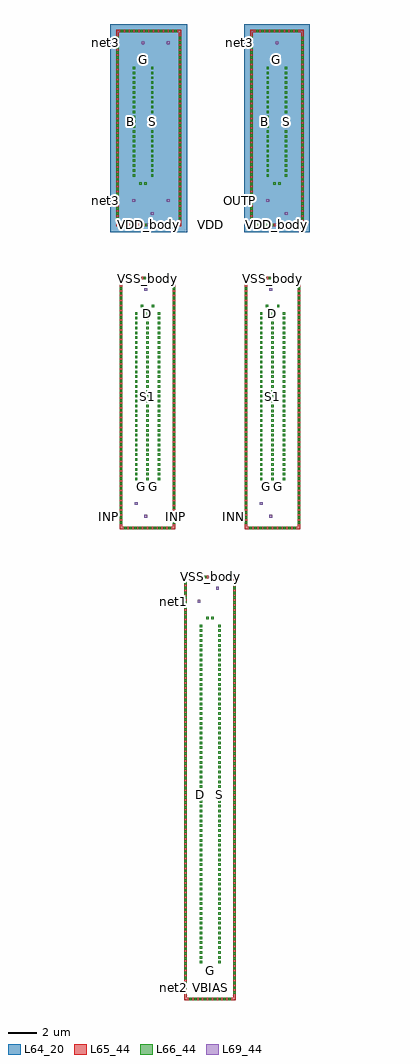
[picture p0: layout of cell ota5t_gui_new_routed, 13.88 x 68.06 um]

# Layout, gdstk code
import gdstk
lib = gdstk.Library(unit=1e-6, precision=1e-09)
def R(c, l, rs):  # rectangles x0, y0, x1, y1
    for r in rs: c.add(gdstk.rectangle(r[:2], r[2:], *l))
def A(c, l, x, y, w, h, nx, ny, dx, dy):  # array of equal rectangles
    R(c, l, [(x+i*dx, y+j*dy, x+i*dx+w, y+j*dy+h) for i in range(nx) for j in range(ny)])
L64_20 = (64, 20)
L65_44 = (65, 44)
L66_44 = (66, 44)
L69_44 = (69, 44)

d_sky130_fd_pr__nfet_01v = lib.new_cell('D$sky130_fd_pr__nfet_01v8')

c_d_sky130_fd_pr__nfet_01v = lib.new_cell('D$sky130_fd_pr__nfet_01v8$2')

c_d_sky130_fd_pr__nfet_01v_ = lib.new_cell('D$sky130_fd_pr__nfet_01v8$1')

d_sky130_fd_pr__pfet_01v = lib.new_cell('D$sky130_fd_pr__pfet_01v8')
R(d_sky130_fd_pr__pfet_01v, L64_20, [(-0.5,-4,0.5,4)])

ota5t_gui_new_routed = lib.new_cell('ota5t_gui_new_routed')
R(ota5t_gui_new_routed, L64_20, [(-6.94,-14.51,-1.6,0), (2.4,-14.51,6.94,0), (-5.64,-11.31,-3.7,-2.31), (3.7,-11.31,5.64,-2.31), (-5.59,-6.86,-5.49,-6.76), (3.75,-6.86,3.85,-6.76)])
R(ota5t_gui_new_routed, L65_44, [(-1.8,-68.06,1.8,-67.89), (-1.8,-67.89,-1.63,-38.64), (1.63,-67.89,1.8,-38.64), (-1.8,-38.64,1.8,-38.47), (-6.305,-35.22,-2.415,-35.05), (2.415,-35.22,6.305,-35.05), (-6.305,-35.05,-6.135,-17.8), (-2.585,-35.05,-2.415,-17.8), (2.415,-35.05,2.585,-17.8), (6.135,-35.05,6.305,-17.8), (-6.305,-17.8,-2.415,-17.63), (2.415,-17.8,6.305,-17.63), (-6.525,-14.095,-2.015,-13.925), (2.815,-14.095,6.525,-13.925), (-6.525,-13.925,-6.355,-0.585), (-2.185,-13.925,-2.015,-0.585), (2.815,-13.925,2.985,-0.585), (6.355,-13.925,6.525,-0.585), (-6.525,-0.585,-2.015,-0.415), (2.815,-0.585,6.525,-0.415)])
A(ota5t_gui_new_routed, L66_44, -1.445, -68.06, 0.17, 0.17, 9, 2, 0.34, 29.42)
A(ota5t_gui_new_routed, L66_44, -1.8, -67.63, 0.17, 0.17, 1, 85, 0, 0.34)
A(ota5t_gui_new_routed, L66_44, 1.63, -67.63, 0.17, 0.17, 1, 85, 0, 0.34)
A(ota5t_gui_new_routed, L66_44, -0.725, -65.51, 0.17, 0.17, 1, 70, 0, 0.34)
A(ota5t_gui_new_routed, L66_44, 0.565, -65.51, 0.17, 0.17, 1, 70, 0, 0.34)
A(ota5t_gui_new_routed, L66_44, -5.975, -35.22, 0.17, 0.17, 10, 2, 0.34, 17.42)
A(ota5t_gui_new_routed, L66_44, 2.745, -35.22, 0.17, 0.17, 10, 2, 0.34, 17.42)
A(ota5t_gui_new_routed, L66_44, -6.305, -34.84, 0.17, 0.17, 1, 50, 0, 0.34)
A(ota5t_gui_new_routed, L66_44, -2.585, -34.84, 0.17, 0.17, 1, 50, 0, 0.34)
A(ota5t_gui_new_routed, L66_44, 2.415, -34.84, 0.17, 0.17, 1, 50, 0, 0.34)
A(ota5t_gui_new_routed, L66_44, 6.135, -34.84, 0.17, 0.17, 1, 50, 0, 0.34)
A(ota5t_gui_new_routed, L66_44, -5.23, -31.82, 0.17, 0.17, 3, 35, 0.79, 0.34)
A(ota5t_gui_new_routed, L66_44, 3.49, -31.82, 0.17, 0.17, 3, 35, 0.79, 0.34)
A(ota5t_gui_new_routed, L66_44, -6.225, -14.095, 0.17, 0.17, 12, 2, 0.34, 13.51)
A(ota5t_gui_new_routed, L66_44, 3.225, -14.095, 0.17, 0.17, 9, 2, 0.34, 13.51)
A(ota5t_gui_new_routed, L66_44, -6.525, -13.63, 0.17, 0.17, 1, 38, 0, 0.34)
A(ota5t_gui_new_routed, L66_44, -2.185, -13.63, 0.17, 0.17, 1, 38, 0, 0.34)
A(ota5t_gui_new_routed, L66_44, 2.815, -13.63, 0.17, 0.17, 1, 38, 0, 0.34)
A(ota5t_gui_new_routed, L66_44, 6.355, -13.63, 0.17, 0.17, 1, 38, 0, 0.34)
A(ota5t_gui_new_routed, L66_44, -5.4, -10.635, 0.17, 0.17, 1, 23, 0, 0.34)
A(ota5t_gui_new_routed, L66_44, -4.11, -10.635, 0.17, 0.17, 1, 23, 0, 0.34)
A(ota5t_gui_new_routed, L66_44, 3.94, -10.635, 0.17, 0.17, 1, 23, 0, 0.34)
A(ota5t_gui_new_routed, L66_44, 5.23, -10.635, 0.17, 0.17, 1, 23, 0, 0.34)
R(ota5t_gui_new_routed, L66_44, [(-0.25,-66.055,-0.08,-65.885), (0.09,-66.055,0.26,-65.885), (-0.25,-41.505,-0.08,-41.335), (0.09,-41.505,0.26,-41.335), (-4.835,-32.315,-4.665,-32.145), (-4.045,-32.315,-3.875,-32.145), (3.885,-32.315,4.055,-32.145), (4.675,-32.315,4.845,-32.145), (-4.835,-19.765,-4.665,-19.595), (-4.045,-19.765,-3.875,-19.595), (3.885,-19.765,4.055,-19.595), (4.675,-19.765,4.845,-19.595), (-4.925,-11.215,-4.755,-11.045), (-4.585,-11.215,-4.415,-11.045), (4.415,-11.215,4.585,-11.045), (4.755,-11.215,4.925,-11.045), (-4.925,-2.575,-4.755,-2.405), (-4.585,-2.575,-4.415,-2.405), (4.415,-2.575,4.585,-2.405), (4.755,-2.575,4.925,-2.405)])
R(ota5t_gui_new_routed, L69_44, [(-0.225,-67.275,-0.025,-67.075), (-0.87,-40.355,-0.67,-40.155), (0.42,-39.455,0.62,-39.255), (-0.1,-38.66,0.1,-38.46), (-4.585,-34.435,-4.385,-34.235), (4.135,-34.435,4.335,-34.235), (-5.25,-33.535,-5.05,-33.335), (3.47,-33.535,3.67,-33.335), (-4.585,-18.615,-4.385,-18.415), (4.135,-18.615,4.335,-18.415), (-4.46,-17.82,-4.26,-17.62), (4.26,-17.82,4.46,-17.62), (-4.37,-14.11,-4.17,-13.91), (4.57,-14.11,4.77,-13.91), (-4.125,-13.31,-3.925,-13.11), (5.215,-13.31,5.415,-13.11), (-5.415,-12.41,-5.215,-12.21), (-3,-12.41,-2.8,-12.21), (3.925,-12.41,4.125,-12.21), (-4.77,-1.4,-4.57,-1.2), (-3,-1.4,-2.8,-1.2), (4.57,-1.4,4.77,-1.2)])
ota5t_gui_new_routed.add(gdstk.Reference(d_sky130_fd_pr__nfet_01v, (0.005,-53.695), x_reflection=True))
ota5t_gui_new_routed.add(gdstk.Reference(c_d_sky130_fd_pr__nfet_01v, (-3.96,-25.955), x_reflection=True))
ota5t_gui_new_routed.add(gdstk.Reference(c_d_sky130_fd_pr__nfet_01v, (4.76,-25.955), x_reflection=True))
ota5t_gui_new_routed.add(gdstk.Reference(c_d_sky130_fd_pr__nfet_01v_, (-4.75,-25.955), x_reflection=True))
ota5t_gui_new_routed.add(gdstk.Reference(c_d_sky130_fd_pr__nfet_01v_, (3.97,-25.955), x_reflection=True))
ota5t_gui_new_routed.add(gdstk.Reference(d_sky130_fd_pr__pfet_01v, (-4.67,-6.81)))
ota5t_gui_new_routed.add(gdstk.Reference(d_sky130_fd_pr__pfet_01v, (4.67,-6.81)))
ota5t_gui_new_routed.add(gdstk.Label('B', (-5.54,-6.81), layer=64, texttype=5))
ota5t_gui_new_routed.add(gdstk.Label('B', (3.8,-6.81), layer=64, texttype=5))
ota5t_gui_new_routed.add(gdstk.Label('VDD_body', (-4.27,-14.01), layer=67, texttype=5))
ota5t_gui_new_routed.add(gdstk.Label('VDD_body', (4.67,-14.01), layer=67, texttype=5))
ota5t_gui_new_routed.add(gdstk.Label('S1', (-4.355,-25.955), layer=67, texttype=5))
ota5t_gui_new_routed.add(gdstk.Label('S1', (4.365,-25.955), layer=67, texttype=5))
ota5t_gui_new_routed.add(gdstk.Label('S', (0.65,-53.695), layer=67, texttype=5))
ota5t_gui_new_routed.add(gdstk.Label('S', (-4.025,-6.81), layer=67, texttype=5))
ota5t_gui_new_routed.add(gdstk.Label('S', (5.315,-6.81), layer=67, texttype=5))
ota5t_gui_new_routed.add(gdstk.Label('VSS_body', (0,-38.555), layer=67, texttype=5))
ota5t_gui_new_routed.add(gdstk.Label('VSS_body', (-4.36,-17.715), layer=67, texttype=5))
ota5t_gui_new_routed.add(gdstk.Label('VSS_body', (4.36,-17.715), layer=67, texttype=5))
ota5t_gui_new_routed.add(gdstk.Label('D0', (-5.145,-25.955), layer=67, texttype=5))
ota5t_gui_new_routed.add(gdstk.Label('D0', (3.575,-25.955), layer=67, texttype=5))
ota5t_gui_new_routed.add(gdstk.Label('D', (-0.64,-53.695), layer=67, texttype=5))
ota5t_gui_new_routed.add(gdstk.Label('D', (-5.315,-6.81), layer=67, texttype=5))
ota5t_gui_new_routed.add(gdstk.Label('D', (4.025,-6.81), layer=67, texttype=5))
ota5t_gui_new_routed.add(gdstk.Label('G', (0.005,-65.97), layer=67, texttype=5))
ota5t_gui_new_routed.add(gdstk.Label('G', (-4.75,-32.23), layer=67, texttype=5))
ota5t_gui_new_routed.add(gdstk.Label('G', (-3.96,-32.23), layer=67, texttype=5))
ota5t_gui_new_routed.add(gdstk.Label('G', (3.97,-32.23), layer=67, texttype=5))
ota5t_gui_new_routed.add(gdstk.Label('G', (4.76,-32.23), layer=67, texttype=5))
ota5t_gui_new_routed.add(gdstk.Label('G', (-4.67,-2.49), layer=67, texttype=5))
ota5t_gui_new_routed.add(gdstk.Label('G', (4.67,-2.49), layer=67, texttype=5))
ota5t_gui_new_routed.add(gdstk.Label('S', (0.65,-53.795), layer=68, texttype=5))
ota5t_gui_new_routed.add(gdstk.Label('S', (-4.025,-6.71), layer=68, texttype=5))
ota5t_gui_new_routed.add(gdstk.Label('S', (5.315,-6.71), layer=68, texttype=5))
ota5t_gui_new_routed.add(gdstk.Label('D', (-0.64,-53.795), layer=68, texttype=5))
ota5t_gui_new_routed.add(gdstk.Label('D', (-5.315,-6.71), layer=68, texttype=5))
ota5t_gui_new_routed.add(gdstk.Label('D', (4.025,-6.71), layer=68, texttype=5))
ota5t_gui_new_routed.add(gdstk.Label('G', (0.005,-65.97), layer=68, texttype=5))
ota5t_gui_new_routed.add(gdstk.Label('G', (-4.355,-32.23), layer=68, texttype=5))
ota5t_gui_new_routed.add(gdstk.Label('G', (4.365,-32.23), layer=68, texttype=5))
ota5t_gui_new_routed.add(gdstk.Label('G', (-4.67,-2.49), layer=68, texttype=5))
ota5t_gui_new_routed.add(gdstk.Label('G', (4.67,-2.49), layer=68, texttype=5))
ota5t_gui_new_routed.add(gdstk.Label('D', (-4.355,-20.165), layer=69, texttype=5))
ota5t_gui_new_routed.add(gdstk.Label('D', (4.365,-20.165), layer=69, texttype=5))
ota5t_gui_new_routed.add(gdstk.Label('S', (-4.355,-31.745), layer=69, texttype=5))
ota5t_gui_new_routed.add(gdstk.Label('S', (4.365,-31.745), layer=69, texttype=5))
ota5t_gui_new_routed.add(gdstk.Label('VDD', (-7.29,-13.21), layer=70, texttype=5))
ota5t_gui_new_routed.add(gdstk.Label('VDD', (2.05,-13.21), layer=70, texttype=5))
ota5t_gui_new_routed.add(gdstk.Label('OUTP', (1.65,-18.515), layer=70, texttype=5))
ota5t_gui_new_routed.add(gdstk.Label('OUTP', (2.05,-12.31), layer=70, texttype=5))
ota5t_gui_new_routed.add(gdstk.Label('net3', (-7.07,-18.515), layer=70, texttype=5))
ota5t_gui_new_routed.add(gdstk.Label('net3', (-7.29,-12.31), layer=70, texttype=5))
ota5t_gui_new_routed.add(gdstk.Label('net3', (-7.29,-1.3), layer=70, texttype=5))
ota5t_gui_new_routed.add(gdstk.Label('net3', (2.05,-1.3), layer=70, texttype=5))
ota5t_gui_new_routed.add(gdstk.Label('INN', (1.65,-34.335), layer=70, texttype=5))
ota5t_gui_new_routed.add(gdstk.Label('VSS', (-2.565,-39.355), layer=70, texttype=5))
ota5t_gui_new_routed.add(gdstk.Label('INP', (-7.07,-34.335), layer=70, texttype=5))
ota5t_gui_new_routed.add(gdstk.Label('net1', (-2.565,-40.255), layer=70, texttype=5))
ota5t_gui_new_routed.add(gdstk.Label('net1', (-7.07,-33.435), layer=70, texttype=5))
ota5t_gui_new_routed.add(gdstk.Label('net1', (1.65,-33.435), layer=70, texttype=5))
ota5t_gui_new_routed.add(gdstk.Label('net2', (-2.565,-67.175), layer=70, texttype=5))
ota5t_gui_new_routed.add(gdstk.Label('VDD', (0,-14.01), layer=71, texttype=5))
ota5t_gui_new_routed.add(gdstk.Label('OUTP', (2.4,-18.52), layer=71, texttype=5))
ota5t_gui_new_routed.add(gdstk.Label('INN', (2.4,-34.34), layer=71, texttype=5))
ota5t_gui_new_routed.add(gdstk.Label('VSS', (0,-39.36), layer=71, texttype=5))
ota5t_gui_new_routed.add(gdstk.Label('INP', (-2.4,-34.34), layer=71, texttype=5))
ota5t_gui_new_routed.add(gdstk.Label('VBIAS', (0,-67.18), layer=71, texttype=5))

lib.write_gds('ota5t_gui_new_routed.gds')
